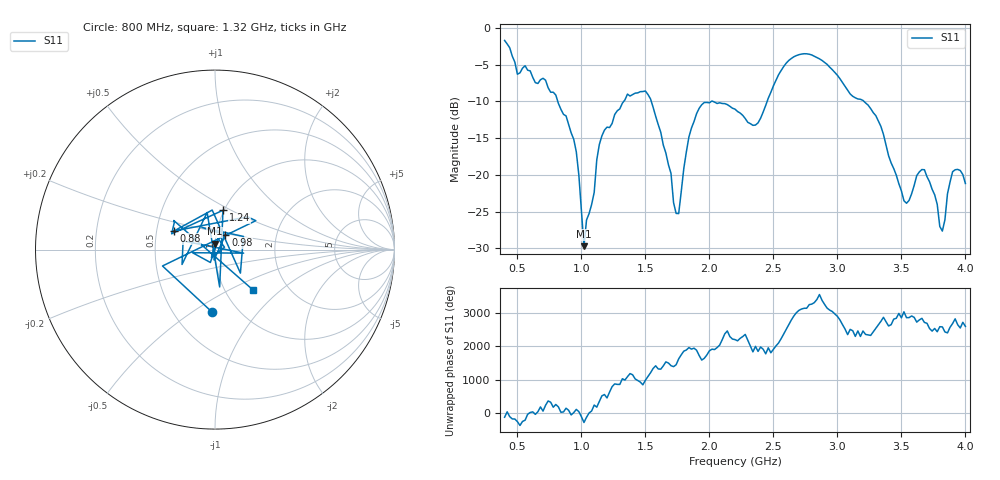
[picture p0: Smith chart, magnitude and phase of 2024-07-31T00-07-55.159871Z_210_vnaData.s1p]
!Created with skrf (http://scikit-rf.org).
# Hz S RI R 50.0
!freq ReS11 ImS11
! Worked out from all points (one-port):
!   181 points, 400 MHz to 4 GHz, reference 50 ohm
!   lowest |S11| = -29.7 dB at 1.02 GHz (marker M1), VSWR 1.07, Z = 49.8 + j3.27 ohm
!   |S11| at or under -10 dB: 815.2 MHz to 1.331 GHz (516.2 MHz wide, 48.1 % of centre); 1.546 GHz to 2.016 GHz (470.7 MHz wide, 26.4 % of centre); 3.207 GHz to end of sweep (the widest 3 of 4)
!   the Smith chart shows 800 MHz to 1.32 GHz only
!   S11 on the Smith chart (normalised r, x): 800 MHz: 0.76, -0.60; 880 MHz: 0.62, +0.14; 980 MHz: 1.11, +0.18; 1.24 GHz: 0.99, +0.46; 1.32 GHz: 1.35, -0.66
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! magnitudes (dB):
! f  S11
! 400 MHz  -1.7
! 500 MHz  -6.3
! 800 MHz  -9.1
! 860 MHz  -11.8
! 880 MHz  -12.0
! 980 MHz  -20.0
! 1.02 GHz  -29.7
! 1.1 GHz  -22.4
! 1.14 GHz  -15.9
! 1.24 GHz  -13.0
! 1.3 GHz  -11.0
! 1.32 GHz  -10.3
! 1.54 GHz  -9.7
! 1.76 GHz  -25.3
! 1.84 GHz  -14.8
! 1.92 GHz  -10.9
! 2.2 GHz  -11.1
! 2.38 GHz  -12.9
! 2.66 GHz  -3.9
! 2.88 GHz  -4.4
! 3.1 GHz  -9.0
! 3.3 GHz  -11.9
! 3.52 GHz  -23.5
! 3.56 GHz  -23.5
! 3.68 GHz  -19.3
! 3.82 GHz  -27.6
! 3.9 GHz  -19.6
! 4 GHz  -21.2
